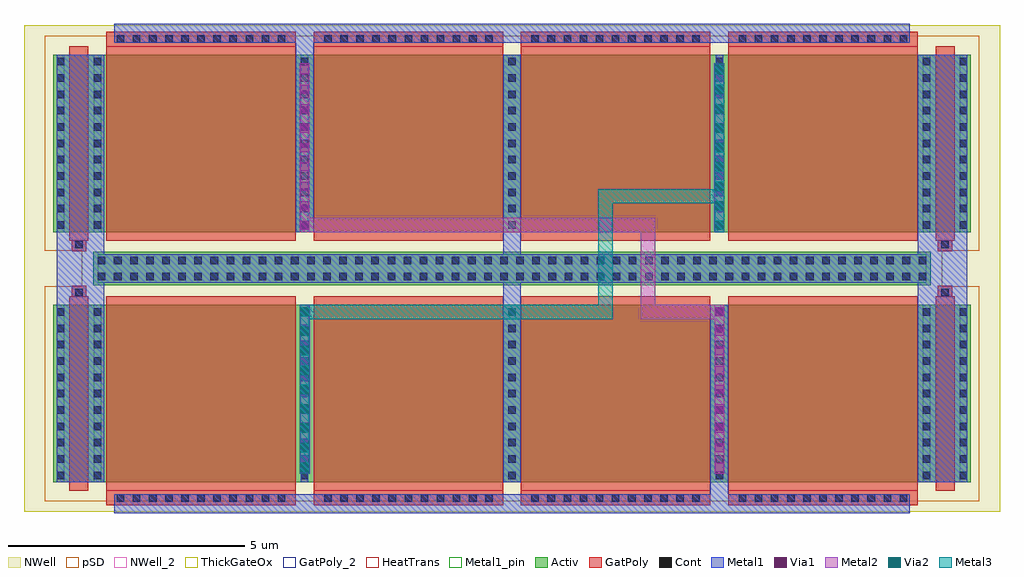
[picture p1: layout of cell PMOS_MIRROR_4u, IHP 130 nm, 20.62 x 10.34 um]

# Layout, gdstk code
from math import pi, radians
import gdstk
lib = gdstk.Library(unit=1e-6, precision=1e-09)
def R(c, l, rs):  # rectangles x0, y0, x1, y1
    for r in rs: c.add(gdstk.rectangle(r[:2], r[2:], *l))
def A(c, l, x, y, w, h, nx, ny, dx, dy):  # array of equal rectangles
    R(c, l, [(x+i*dx, y+j*dy, x+i*dx+w, y+j*dy+h) for i in range(nx) for j in range(ny)])
Activ = (1, 0)
GatPoly = (5, 0)
GatPoly_2 = (5, 2)
Cont = (6, 0)
Metal1 = (8, 0)
Metal1_pin = (8, 2)
Metal2 = (10, 0)
pSD = (14, 0)
Via1 = (19, 0)
Via2 = (29, 0)
Metal3 = (30, 0)
NWell = (31, 0)
NWell_2 = (31, 2)
ThickGateOx = (44, 0)
HeatTrans = (51, 0)

pmoshv_2 = lib.new_cell('pmosHV$2')
A(pmoshv_2, Activ, 0, 0, 0.3, 0.3, 5, 1, 4.38, 0)
R(pmoshv_2, Activ, [(0,0,17.82,3.75)])
A(pmoshv_2, GatPoly, 0.34, -0.18, 4, 4.11, 4, 1, 4.38, 0)
R(pmoshv_2, GatPoly_2, [(0.34,-0.18,4.34,3.93)])
A(pmoshv_2, Cont, 0.07, 0.07, 0.16, 0.16, 5, 11, 4.38, 0.345)
A(pmoshv_2, Metal1, 0.07, 0, 0.16, 3.75, 5, 1, 4.38, 0)
R(pmoshv_2, Metal1_pin, [(0.07,0,0.23,3.75), (4.45,0,4.61,3.75)])
R(pmoshv_2, pSD, [(-0.18,-0.4,18,4.15)])
R(pmoshv_2, NWell, [(-0.62,-0.62,18.44,4.37)])
R(pmoshv_2, ThickGateOx, [(-0.62,-0.62,18.44,4.37)])
A(pmoshv_2, HeatTrans, 0.34, -0.18, 4, 4.11, 4, 1, 4.38, 0)
pmoshv_2.add(gdstk.Label('pmosHV', (2.34,1.875), layer=63, texttype=0))
pmoshv_2.add(gdstk.Label('pmos', (2.34,1.875), layer=51, texttype=0))
pmoshv_2.add(gdstk.Label('pmos', (6.72,1.875), layer=51, texttype=0))
pmoshv_2.add(gdstk.Label('pmos', (11.1,1.875), layer=51, texttype=0))
pmoshv_2.add(gdstk.Label('pmos', (15.48,1.875), layer=51, texttype=0))

ntap1 = lib.new_cell('ntap1')
R(ntap1, Activ, [(0,0,17.7,0.7)])
A(ntap1, Cont, 0.1, 0.1, 0.16, 0.16, 52, 2, 0.34, 0.34)
R(ntap1, Metal1, [(0.1,0.05,17.6,0.65)])
R(ntap1, Metal1_pin, [(0.1,0.05,17.6,0.65), (0.1,0.1,17.6,0.6)])
R(ntap1, NWell, [(-0.24,-0.24,17.94,0.94), (0,0,17.7,0.7)])
R(ntap1, NWell_2, [(0,0,17.7,0.7)])
ntap1.add(gdstk.Label('well', (8.85,0.01), layer=63, texttype=0))
ntap1.add(gdstk.Label('well', (8.85,0.01), layer=31, texttype=0))

via_stack_2 = lib.new_cell('via_stack$2')
R(via_stack_2, GatPoly, [(-1.85,-0.15,1.85,0.15)])
A(via_stack_2, Cont, -1.78, -0.08, 0.16, 0.16, 11, 1, 0.34, 0)
R(via_stack_2, Metal1, [(-1.83,-0.08,1.83,0.08)])

pmoshv_1 = lib.new_cell('pmosHV$1')
R(pmoshv_1, Activ, [(0,0,0.3,0.3), (0,0,1.08,3.75), (0.78,0,1.08,0.3)])
R(pmoshv_1, GatPoly, [(0.34,-0.18,0.74,3.93)])
R(pmoshv_1, GatPoly_2, [(0.34,-0.18,0.74,3.93)])
A(pmoshv_1, Cont, 0.07, 0.07, 0.16, 0.16, 1, 11, 0, 0.345)
A(pmoshv_1, Cont, 0.85, 0.07, 0.16, 0.16, 1, 11, 0, 0.345)
R(pmoshv_1, Metal1, [(0.07,0,0.23,3.75), (0.85,0,1.01,3.75)])
R(pmoshv_1, Metal1_pin, [(0.07,0,0.23,3.75), (0.85,0,1.01,3.75)])
R(pmoshv_1, pSD, [(-0.18,-0.4,1.26,4.15)])
R(pmoshv_1, NWell, [(-0.62,-0.62,1.7,4.37)])
R(pmoshv_1, ThickGateOx, [(-0.62,-0.62,1.7,4.37)])
R(pmoshv_1, HeatTrans, [(0.34,-0.18,0.74,3.93)])
pmoshv_1.add(gdstk.Label('pmosHV', (0.54,1.875), layer=63, texttype=0))
pmoshv_1.add(gdstk.Label('pmos', (0.54,1.875), layer=51, texttype=0))

via_stack_7 = lib.new_cell('via_stack$7')
R(via_stack_7, GatPoly, [(-0.15,-0.15,0.15,0.15)])
R(via_stack_7, Cont, [(-0.08,-0.08,0.08,0.08)])
R(via_stack_7, Metal1, [(-0.13,-0.08,0.13,0.08)])

via_stack_9 = lib.new_cell('via_stack$9')
R(via_stack_9, Metal1, [(-0.105,-1.785,0.105,1.785)])
R(via_stack_9, Metal2, [(-0.1,-1.785,0.1,1.785)])
A(via_stack_9, Via1, -0.095, -1.735, 0.19, 0.19, 1, 9, 0, 0.41)

via_stack_10 = lib.new_cell('via_stack$10')
R(via_stack_10, Metal1, [(-0.105,-1.785,0.105,1.785)])
R(via_stack_10, Metal2, [(-0.1,-1.785,0.1,1.785)])
A(via_stack_10, Via1, -0.095, -1.735, 0.19, 0.19, 1, 9, 0, 0.41)
A(via_stack_10, Via2, -0.095, -1.735, 0.19, 0.19, 1, 9, 0, 0.41)
R(via_stack_10, Metal3, [(-0.1,-1.785,0.1,1.785)])

pmos_mirror_4u = lib.new_cell('PMOS_MIRROR_4u')
A(pmos_mirror_4u, GatPoly, 1.74, 1.215, 4, 0.3, 4, 2, 4.38, 9.7)
R(pmos_mirror_4u, Metal1, [(1.91,1.045,18.71,1.445), (14.5,1.445,14.88,5.445), (0.69,1.695,1.47,10.735), (1.4,1.695,1.7,10.735), (10.12,1.695,10.5,10.735), (18.88,1.695,19.22,10.735), (19.15,1.695,19.93,10.735), (5.74,6.985,6.12,10.985), (1.91,10.985,18.71,11.385)])
R(pmos_mirror_4u, Metal2, [(13.035,5.145,14.59,5.445), (13.035,5.275,13.335,6.985), (6.03,6.985,13.335,7.285)])
R(pmos_mirror_4u, pSD, [(1.22,1.295,19.4,11.135)])
R(pmos_mirror_4u, Metal3, [(6.03,5.145,12.135,5.445), (12.135,5.145,12.435,7.89), (12.435,7.59,14.59,7.89)])
R(pmos_mirror_4u, NWell, [(0,1.075,20.62,11.355), (0.78,1.075,19.84,11.355)])
R(pmos_mirror_4u, ThickGateOx, [(0,1.075,20.62,11.355), (0.78,1.075,19.84,11.355)])
pmos_mirror_4u.add(gdstk.Reference(pmoshv_2, (1.4,1.695)))
pmos_mirror_4u.add(gdstk.Reference(pmoshv_2, (1.4,6.985)))
pmos_mirror_4u.add(gdstk.Reference(ntap1, (1.46,5.865)))
pmos_mirror_4u.add(gdstk.Reference(via_stack_2, (3.74,11.065)))
pmos_mirror_4u.add(gdstk.Reference(via_stack_2, (8.12,11.065)))
pmos_mirror_4u.add(gdstk.Reference(via_stack_2, (12.5,11.065)))
pmos_mirror_4u.add(gdstk.Reference(via_stack_2, (16.88,11.065)))
pmos_mirror_4u.add(gdstk.Reference(via_stack_2, (3.74,1.365), x_reflection=True))
pmos_mirror_4u.add(gdstk.Reference(via_stack_2, (8.12,1.365), x_reflection=True))
pmos_mirror_4u.add(gdstk.Reference(via_stack_2, (12.5,1.365), x_reflection=True))
pmos_mirror_4u.add(gdstk.Reference(pmoshv_1, (0.62,6.985)))
pmos_mirror_4u.add(gdstk.Reference(pmoshv_1, (0.62,1.695)))
pmos_mirror_4u.add(gdstk.Reference(pmoshv_1, (18.92,6.985)))
pmos_mirror_4u.add(gdstk.Reference(pmoshv_1, (18.92,1.695)))
pmos_mirror_4u.add(gdstk.Reference(via_stack_7, (19.46,5.705)))
pmos_mirror_4u.add(gdstk.Reference(via_stack_7, (19.46,6.725)))
pmos_mirror_4u.add(gdstk.Reference(via_stack_7, (1.16,5.705), rotation=pi, x_reflection=True))
pmos_mirror_4u.add(gdstk.Reference(via_stack_7, (1.16,6.725), rotation=pi, x_reflection=True))
pmos_mirror_4u.add(gdstk.Reference(via_stack_2, (16.88,1.365), x_reflection=True))
pmos_mirror_4u.add(gdstk.Reference(via_stack_9, (5.93,8.77)))
pmos_mirror_4u.add(gdstk.Reference(via_stack_10, (14.69,8.77)))
pmos_mirror_4u.add(gdstk.Reference(via_stack_9, (14.69,3.66)))
pmos_mirror_4u.add(gdstk.Reference(via_stack_10, (5.93,3.66)))

lib.write_gds('PMOS_MIRROR_4u.gds')
